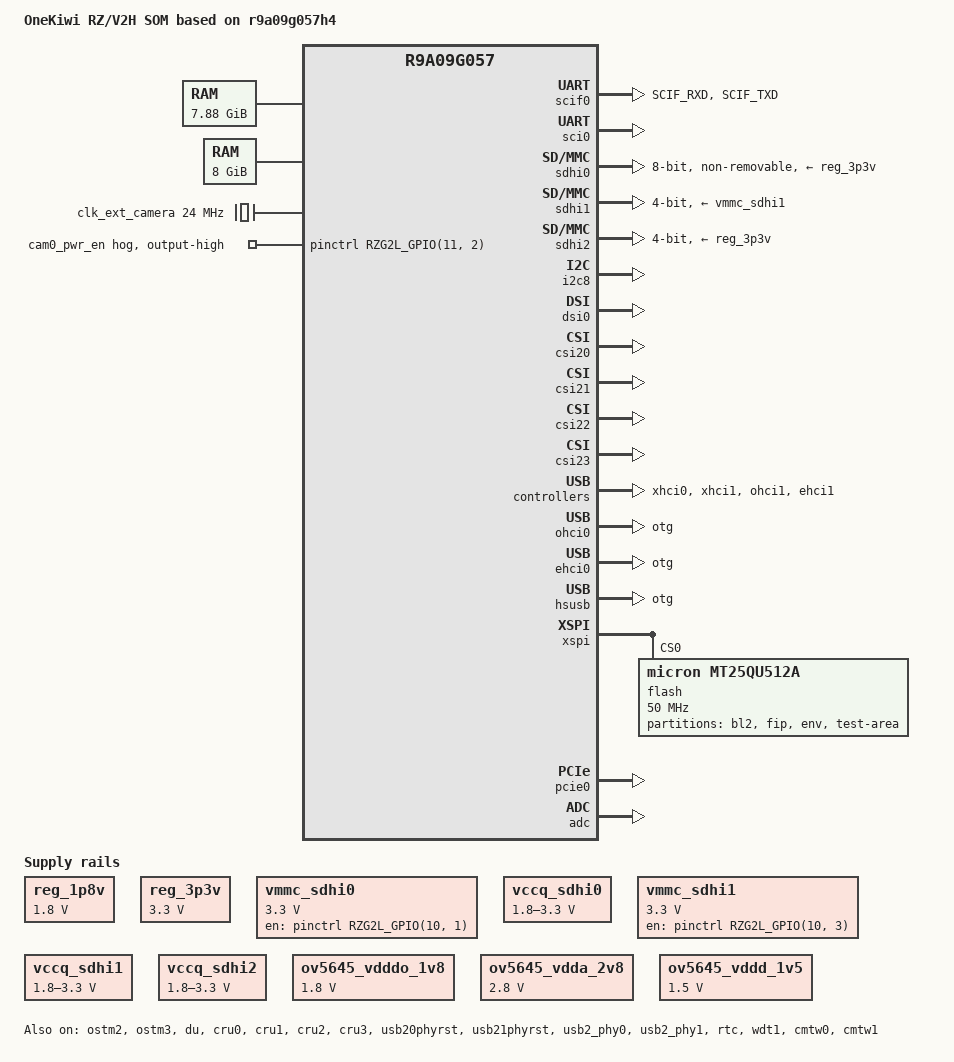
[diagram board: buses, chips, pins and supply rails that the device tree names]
// SPDX-License-Identifier: (GPL-2.0-only OR BSD-2-Clause)
/*
 * Device Tree Source for the RZ/V2H EVK ver1 board
 *
 * Copyright (C) 2024 Renesas Electronics Corp.
 */

/dts-v1/;
#include "r9a09g057.dtsi"
#include <dt-bindings/pinctrl/rzg2l-pinctrl.h>
#include <dt-bindings/gpio/gpio.h>

/*
 * SSI-DA7212
 *
 * These commands are required when Playback/Capture
 *
 *	amixer -q cset name='Aux Switch' on
 *	amixer -q cset name='Mixin Left Aux Left Switch' on
 *	amixer -q cset name='Mixin Right Aux Right Switch' on
 *	amixer -q cset name='ADC Switch' on
 *	amixer -q cset name='Mixout Right Mixin Right Switch' off
 *	amixer -q cset name='Mixout Left Mixin Left Switch' off
 *	amixer -q cset name='Headphone Volume' 70%
 *	amixer -q cset name='Headphone Switch' on
 *	amixer -q cset name='Mixout Left DAC Left Switch' on
 *	amixer -q cset name='Mixout Right DAC Right Switch' on
 *	amixer -q cset name='DAC Left Source MUX' 'DAI Input Left'
 *	amixer -q cset name='DAC Right Source MUX' 'DAI Input Right'
 *	amixer -q sset 'Mic 1 Amp Source MUX' 'MIC_P'
 *	amixer -q sset 'Mic 2 Amp Source MUX' 'MIC_P'
 *	amixer -q sset 'Mixin Left Mic 1' on
 *	amixer -q sset 'Mixin Right Mic 2' on
 *	amixer -q sset 'Mic 1' 90% on
 *	amixer -q sset 'Mic 2' 90% on
 *	amixer -q sset 'Lineout' 80% on
 *	amixer -q set "Headphone" 100% on
 *
 * When Capture, use this command to amplify sound
 *	amixer set 'DVC In',0 100%
 */

/*
 * Jumper setting
 *
 * Please change the jumper setting corresponding to below Macros:
 *
 * SEL_CAN01_HEADER:
 *	1: CAN0/1	0: External Header Pin
 * SEL_SCI4_HEADER:
 *	1: SCI4		0: CAN0/1
 */

#define SEL_CAN01_HEADER	1
#define SEL_SCI4_CAN01		0

#if (!SEL_CAN01_HEADER && SEL_SCI4_CAN01)
#error "Cannot set 1 to SEL_SCI4_CAN01 as SEL_CAN01_HEADER=0"
#endif

/ {
	model = "OneKiwi RZ/V2H SOM based on r9a09g057h4";
	compatible = "onekiwi,rzv2h-onekiwi", "renesas,r9a09g057h4-evk-ver1", "renesas,r9a09g057h4", "renesas,r9a09g057";

	aliases {
		serial0 = &scif0;
		//serial1 = &sci0;
		//serial2 = &sci4;
		//serial3 = &sci5;
		mmc0 = &sdhi0;
		mmc1 = &sdhi1;
		mmc2 = &sdhi2;
		//ethernet0 = &eth0;
		//ethernet1 = &eth1;
	};

	chosen {
		bootargs = "ignore_loglevel";
		stdout-path = "serial0:115200n8";
	};

	memory@48000000 {
		device_type = "memory";
		/* first 128MB is reserved for secure area. */
		reg = <0x0 0x48000000 0x1 0xF8000000>;
	};

	memory@240000000 {
		device_type = "memory";
		reg = <0x2 0x40000000 0x2 0x00000000>;
	};

	reserved-memory {
		#address-cells = <2>;
		#size-cells = <2>;
		ranges;

		global_cma: linux,cma@58000000 {
			compatible = "shared-dma-pool";
			linux,cma-default;
			reusable;
			reg = <0x0 0x58000000 0x0 0x28000000>;
		};

		mmp_reserved: linux,multimedia {
			compatible = "shared-dma-pool";
			reusable;
			reg = <0x00000000 0x80000000 0x0 0x10000000>;
		};

		isp_reserved: frame_buffer@90000000 {
			compatible = "shared-dma-pool";
			reusable;
			reg = <0x0 0x90000000 0x0 0x18000000>;
		};

		opencva_reserved: OpenCVA@A8000000 {
			reusable;
			reg = <0x0 0xA8000000 0x0 0x7D00000>;
		};

		drp_codec: DRP-Codec@AFD00000 {
			reusable;
			reg = <0x0 0xAFD00000 0x0 0x300000>;
		};

		image_buf0: image_buf@B0000000 {
			compatible = "shared-dma-pool";
			reusable;
			reg = <0x0 0xB0000000 0x0 0x4000000>;
			label = "image_buf0";
		};

		cru_func: cru_buffer@B4000000 {
			compatible = "shared-dma-pool";
			reusable;
			reg = <0x0 0xB4000000 0x0 0x16400000>;
		};

		drp_reserved: DRP-AI@240000000 {
			reusable;
			reg = <0x2 0x40000000 0x0 0x20000000>;
		};
	};

	mmngr {
		compatible = "renesas,mmngr";
		memory-region = <&mmp_reserved>;
	};

	mmngrbuf {
		compatible = "renesas,mmngrbuf";
	};

	vspm_if {
		compatible = "renesas,vspm_if";
	};

	reg_1p8v: regulator0 {
		compatible = "regulator-fixed";

		regulator-name = "fixed-1.8V";
		regulator-min-microvolt = <1800000>;
		regulator-max-microvolt = <1800000>;
		regulator-boot-on;
		regulator-always-on;
	};

	reg_3p3v: regulator1 {
		compatible = "regulator-fixed";

		regulator-name = "fixed-3.3V";
		regulator-min-microvolt = <3300000>;
		regulator-max-microvolt = <3300000>;
		regulator-boot-on;
		regulator-always-on;
	};

	vmmc_sdhi0: regulator-vcc-sdhi0 {
		compatible = "regulator-fixed";

		regulator-name = "SDHI0 Vmmc";
		regulator-min-microvolt = <3300000>;
		regulator-max-microvolt = <3300000>;

		gpios = <&pinctrl RZG2L_GPIO(10, 1) GPIO_ACTIVE_HIGH>;
		enable-active-high;
	};

	vccq_sdhi0: regulator-vccq-sdhi0 {
		compatible = "regulator-gpio";

		regulator-name = "SDHI0 VccQ";
		regulator-min-microvolt = <1800000>;
		regulator-max-microvolt = <3300000>;

		gpios = <&pinctrl RZG2L_GPIO(10, 0) GPIO_ACTIVE_HIGH>;

		gpios-states = <0>;
		states = <3300000 0 1800000 1>;
	};

	vmmc_sdhi1: regulator-vcc-sdhi1 {
		compatible = "regulator-fixed";

		regulator-name = "SDHI1 Vmmc";
		regulator-min-microvolt = <3300000>;
		regulator-max-microvolt = <3300000>;

		gpios = <&pinctrl RZG2L_GPIO(10, 3) GPIO_ACTIVE_HIGH>;
		enable-active-high;
	};

	vccq_sdhi1: regulator-vccq-sdhi1 {
		compatible = "regulator-gpio";

		regulator-name = "SDHI1 VccQ";
		regulator-min-microvolt = <1800000>;
		regulator-max-microvolt = <3300000>;

		gpios = <&pinctrl RZG2L_GPIO(10, 2) GPIO_ACTIVE_HIGH>;

		gpios-states = <0>;
		states = <3300000 0 1800000 1>;
	};

	vccq_sdhi2: regulator-vccq-sdhi2 {
		compatible = "regulator-gpio";

		regulator-name = "SDHI2 VccQ";
		regulator-min-microvolt = <1800000>;
		regulator-max-microvolt = <3300000>;

		//gpios = <&pinctrl RZG2L_GPIO(10, 4) GPIO_ACTIVE_HIGH>;

		gpios-states = <0>;
		states = <3300000 0 1800000 1>;
	};

	clk_ext_camera: clk_ext_camera {
		compatible = "fixed-clock";
		#clock-cells = <0>;
		clock-frequency = <24000000>;
	};

	ov5645_vdddo_1v8: 1p8v {
		compatible = "regulator-fixed";
		regulator-name = "camera_vdddo";
		regulator-min-microvolt = <1800000>;
		regulator-max-microvolt = <1800000>;
		regulator-always-on;
	};

	ov5645_vdda_2v8: 2p8v {
		compatible = "regulator-fixed";
		regulator-name = "camera_vdda";
		regulator-min-microvolt = <2800000>;
		regulator-max-microvolt = <2800000>;
		regulator-always-on;
	};

	ov5645_vddd_1v5: 1p5v {
		compatible = "regulator-fixed";
		regulator-name = "camera_vddd";
		regulator-min-microvolt = <1500000>;
		regulator-max-microvolt = <1500000>;
		regulator-always-on;
	};

	x1_clk: x1-clock {
		compatible = "fixed-clock";
		#clock-cells = <0>;
		clock-frequency = <24000000>;
	};

#if (!SEL_CAN01_HEADER)
	codec_test0: codec_test {
		compatible = "linux,snd-soc-dummy";
		#sound-dai-cells = <0>;
	};

	codec_test1: codec_test {
		compatible = "linux,snd-soc-dummy";
		#sound-dai-cells = <0>;
	};
#endif

};

&audio_clka {
	clock-frequency = <22579200>;
};

&audio_clkb {
	clock-frequency = <24576000>;
};

&audio_clkc {
	clock-frequency = <22579200>;
};

&pinctrl {
#if (SEL_CAN01_HEADER && !SEL_SCI4_CAN01)
	can0_pins: can0 {
		pinmux = <RZG2L_PORT_PINMUX(8, 0, 5)>, /* TX */
			 <RZG2L_PORT_PINMUX(8, 1, 5)>; /* RX */
	};

	can1_pins: can1 {
		pinmux = <RZG2L_PORT_PINMUX(8, 2, 5)>, /* TX */
			 <RZG2L_PORT_PINMUX(8, 3, 5)>; /* RX */
	};
#endif

	scif0_pins: scif0 {
		pins =  "SCIF_RXD", "SCIF_TXD";
	};

	sci0_pins: sci0 {
		pinmux = <RZG2L_PORT_PINMUX(5, 0, 1)>, /* SCI0_TXD_MOSI_SDA */
			 <RZG2L_PORT_PINMUX(5, 1, 1)>, /* SCI0_RXD_MISO_SCL */
			 <RZG2L_PORT_PINMUX(5, 2, 4)>, /* SCI0_CTS */
			 <RZG2L_PORT_PINMUX(5, 3, 2)>; /* SCI0_RTS */
	};

#if (SEL_CAN01_HEADER && SEL_SCI4_CAN01)
	sci4_pins: sci4 {
		pinmux = <RZG2L_PORT_PINMUX(8, 4, 6)>, /* SCI4_TXD_MOSI_SDA */
			 <RZG2L_PORT_PINMUX(8, 5, 6)>, /* SCI4_RXD_MISO_SCL */
			 <RZG2L_PORT_PINMUX(8, 0, 3)>, /* SCI4_CTS */
			 <RZG2L_PORT_PINMUX(8, 1, 1)>; /* SCI4_RTS */
	};
#endif

	sci5_pins: sci5 {
		pinmux = <RZG2L_PORT_PINMUX(8, 6, 6)>, /* SCI5_TXD_MOSI_SDA */
			 <RZG2L_PORT_PINMUX(8, 7, 6)>; /* SCI5_RXD_MISO_SCL */
	};

	/* cam0_pwr_en is used by Google Coral Camera from CSI20 and CSI21 */
	cam0_pwr_en {
		gpio-hog;
		gpios = <RZG2L_GPIO(11, 2) GPIO_ACTIVE_HIGH>;
		output-high;
		line-name = "cam0_pwr_en";
	};

	sdhi0_pins: sd0 {
		sd0_mux {
			pinmux = <RZG2L_PORT_PINMUX(10, 5, 15)>; /* SD0_CD */
		};
	};

	sdhi1_pins: sd1 {
		sd1_mux {
			pinmux = <RZG2L_PORT_PINMUX(9, 4, 14)>; /* SD1_CD */
		};
	};

	i2c0_pins: i2c0 {
		pinmux = <RZG2L_PORT_PINMUX(3, 0, 1)>, /* I2C0_SDA */
			 <RZG2L_PORT_PINMUX(3, 1, 1)>; /* I2C0_SCL */
	};

	i2c2_pins: i2c2 {
		pinmux = <RZG2L_PORT_PINMUX(2, 0, 4)>, /* I2C2_SDA */
			 <RZG2L_PORT_PINMUX(2, 1, 4)>; /* I2C2_SCL */
	};

	i2c1_pins: i2c1 {
		pinmux = <RZG2L_PORT_PINMUX(3, 2, 1)>, /* I2C1_SDA */
			 <RZG2L_PORT_PINMUX(3, 3, 1)>; /* I2C1_SCL */
	};

	i2c3_pins: i2c3 {
		pinmux = <RZG2L_PORT_PINMUX(3, 6, 1)>, /* I2C3_SDA */
			 <RZG2L_PORT_PINMUX(3, 7, 1)>; /* I2C3_SCL */
	};

	i2c6_pins: i2c6 {
		pinmux = <RZG2L_PORT_PINMUX(4, 4, 1)>, /* I2C6_SDA */
			 <RZG2L_PORT_PINMUX(4, 5, 1)>; /* I2C6_SCL */
	};

	i2c7_pins: i2c7 {
		pinmux = <RZG2L_PORT_PINMUX(4, 6, 1)>, /* I2C7_SDA */
			 <RZG2L_PORT_PINMUX(4, 7, 1)>; /* I2C7_SCL */
	};

	i2c8_pins: i2c8 {
		pinmux = <RZG2L_PORT_PINMUX(0, 6, 1)>, /* I2C8_SDA */
			 <RZG2L_PORT_PINMUX(0, 7, 1)>; /* I2C8_SCL */
	};

	usb30_pins: usb30 {
		pinmux = <RZG2L_PORT_PINMUX(11, 0, 14)>; /* VBUS */
	};

	usb31_pins: usb31 {
		pinmux = <RZG2L_PORT_PINMUX(6, 2, 14)>; /* VBUS */
	};

	usb20_pins: usb20 {
		pinmux = <RZG2L_PORT_PINMUX(9, 5, 14)>, /* VBUS */
			 <RZG2L_PORT_PINMUX(9, 6, 14)>; /* OVC */
	};

	usb21_pins: usb21 {
		pinmux = <RZG2L_PORT_PINMUX(6, 6, 14)>, /* VBUS */
			 <RZG2L_PORT_PINMUX(6, 7, 14)>; /* OVC */
	};

	spi2_pins: spi2 {
		pinmux = <RZG2L_PORT_PINMUX(11, 3, 5)>, /* MISO */
			 <RZG2L_PORT_PINMUX(11, 4, 5)>, /* MOSI */
			 <RZG2L_PORT_PINMUX(10, 7, 5)>, /* SSL */
			 <RZG2L_PORT_PINMUX(11, 5, 5)>; /* RSPCK */
	};

	sound_clk_pins: sound_clk {
		pinmux = <RZG2L_PORT_PINMUX(1, 0, 7)>, /* AUDIO_CLKB */
			 <RZG2L_PORT_PINMUX(1, 1, 7)>, /* AUDIO_CLKC */
			 <RZG2L_PORT_PINMUX(9, 7, 8)>; /* AUDIO_CLKOUT */
	};

	sound_pins: sound {
		pinmux = <RZG2L_PORT_PINMUX(1, 2, 7)>, /* SSI3_SCK */
			 <RZG2L_PORT_PINMUX(1, 3, 7)>, /* SSI3_WS */
			 <RZG2L_PORT_PINMUX(0, 4, 7)>, /* SSI3_SDATA */
			 <RZG2L_PORT_PINMUX(1, 5, 7)>; /* SSI4_SDATA */

	};

	sdhi2_pins: sd2 {
		sd2_data {
			pinmux = <RZG2L_PORT_PINMUX(11, 1, 1)>, /* SD2_DATA0 */
				 <RZG2L_PORT_PINMUX(11, 2, 1)>, /* SD2_DATA1 */
				 <RZG2L_PORT_PINMUX(11, 3, 1)>, /* SD2_DATA2 */
				 <RZG2L_PORT_PINMUX(11, 4, 1)>; /* SD2_DATA3 */
		};

		sd2_ctrl {
			pinmux = <RZG2L_PORT_PINMUX(11, 0, 1)>, /* SD2_CLK */
				 <RZG2L_PORT_PINMUX(11, 5, 1)>; /* SD2_CMD */
		};

		sd2_mux {
			pinmux = <RZG2L_PORT_PINMUX(10, 3, 15)>; /* SD2_CD */
		};
	};

#if (!SEL_CAN01_HEADER)
	spdif0_pins: spdif0 {
		pinmux = <RZG2L_PORT_PINMUX(8, 0, 8)>, /* SPDIF0_OUT */
			 <RZG2L_PORT_PINMUX(8, 1, 8)>; /* SPDIF0_IN */
	};

	spdif2_pins: spdif2 {
		pinmux = <RZG2L_PORT_PINMUX(8, 2, 8)>, /* SPDIF2_OUT */
			 <RZG2L_PORT_PINMUX(8, 3, 8)>; /* SPDIF2_IN */
	};
#endif

};

&extal_clk {
	clock-frequency = <24000000>;
};

&ostm2 {
	status = "okay";
};

&ostm3 {
	status = "okay";
};

&scif0 {
	pinctrl-0 = <&scif0_pins>;
	pinctrl-names = "default";

	status = "okay";
};

&sci0 {
	pinctrl-0 = <&sci0_pins>;
	pinctrl-names = "default";

	uart-has-rtscts;
	status = "okay";
};


&sdhi0 {
	vmmc-supply = <&reg_3p3v>;
	vqmmc-supply = <&reg_1p8v>;
	bus-width = <8>;
	mmc-hs200-1_8v;
	non-removable;
	fixed-emmc-driver-type = <1>;
	status = "okay";
};

&sdhi1 {
	pinctrl-0 = <&sdhi1_pins>;
	pinctrl-names = "default";
	vmmc-supply = <&vmmc_sdhi1>;
	vqmmc-supply = <&vccq_sdhi1>;
	bus-width = <4>;
	sd-uhs-sdr50;
	sd-uhs-sdr104;
	status = "okay";
};

&sdhi2 {
	pinctrl-0 = <&sdhi2_pins>;
	pinctrl-names = "default";

	vmmc-supply = <&reg_3p3v>;
	vqmmc-supply = <&vccq_sdhi2>;
	bus-width = <4>;
	sd-uhs-sdr50;
	sd-uhs-sdr104;
	status = "okay";
};

&i2c8 {
	pinctrl-0 = <&i2c8_pins>;
	pinctrl-names = "default";

	status = "okay";
};

&du {
	status = "okay";
};

&dsi0 {
	status = "okay";
};

&cru0 {
	status = "okay";
};

&csi20 {
	status = "okay";
};

&cru1 {
	status = "okay";
};

&csi21 {
	status = "okay";
};

&cru2 {
	status = "okay";
};

&csi22 {
	status = "okay";
};

&cru3 {
	status = "okay";
};

&csi23 {
	status = "okay";
};

&xhci0 {
	pinctrl-0 = <&usb30_pins>;
	pinctrl-names = "default";

	memory-region = <&global_cma>;
	status = "okay";
};

&xhci1 {
	pinctrl-0 = <&usb31_pins>;
	pinctrl-names = "default";

	memory-region = <&global_cma>;
	status = "okay";
};

&usb20phyrst {
	status = "okay";
};

&usb21phyrst {
	status = "okay";
};

&ohci0 {
	memory-region = <&global_cma>;

	dr_mode = "otg";
	status = "okay";
};

&ohci1 {
	memory-region = <&global_cma>;

	status = "okay";
};

&ehci0 {
	memory-region = <&global_cma>;

	dr_mode = "otg";
	status = "okay";
};

&ehci1 {
	memory-region = <&global_cma>;

	status = "okay";
};

&hsusb {
	dr_mode = "otg";
	status = "okay";
};

&usb2_phy0 {
	pinctrl-0 = <&usb20_pins>;
	pinctrl-names = "default";

	status = "okay";
};

&usb2_phy1 {
	pinctrl-0 = <&usb21_pins>;
	pinctrl-names = "default";

	status = "okay";
};

&rtc {
	status = "okay";
};

&wdt1 {
	status = "okay";
};

&xspi {
	status = "okay";

	flash@0 {
		compatible = "micron,mt25qu512a", "jedec,spi-nor";
		reg = <0>;
		m25p,fast-read;
		spi-max-frequency = <50000000>;
		spi-tx-bus-width = <1>;
		spi-rx-bus-width = <1>;

		partitions {
			compatible = "fixed-partitions";
			#address-cells = <1>;
			#size-cells = <1>;

			partition@000000 {
				label = "bl2";
				reg = <0x00000000 0x0001D200>;
				read-only;
			};

			partition@01D200 {
				label = "fip";
				reg = <0x0001D200 0x001C2E00>;
				read-only;
			};

			partition@1E0000 {
				label = "env";
				reg = <0x001E0000 0x00020000>;
				read-only;
			};

			partition@200000 {
				label = "test-area";
				reg = <0x00200000 0x00E00000>;
			};
		};
	};
};

&pcie0 {
	/* Map all possible DDR as inbound ranges */
	dma-ranges = <0x42000000 0 0x40000000 0 0x40000000 0x4 0x00000000>;

	status = "okay";
};

&adc {
	status = "okay";
};

&cmtw0 {
	status = "okay";
};

&cmtw1 {
	status = "okay";
};
